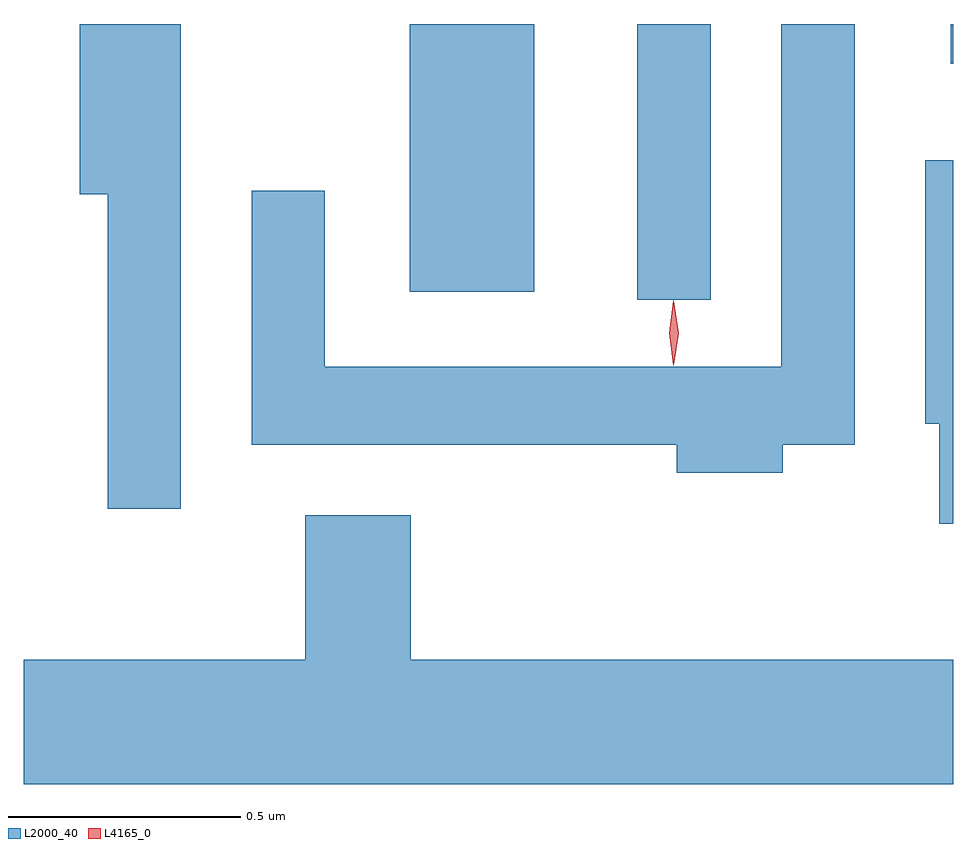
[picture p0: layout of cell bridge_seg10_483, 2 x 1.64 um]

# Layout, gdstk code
import gdstk
lib = gdstk.Library(unit=1e-6, precision=1e-09)
def R(c, l, rs):  # rectangles x0, y0, x1, y1
    for r in rs: c.add(gdstk.rectangle(r[:2], r[2:], *l))
def P(c, l, *ps):  # polygons
    for p in ps: c.add(gdstk.Polygon(p, *l))
L2000_40 = (2000, 40)
L4165_0 = (4165, 0)

bridge_seg10_483 = lib.new_cell('bridge_seg10_483')
R(bridge_seg10_483, L2000_40, [(1443.416,2112.738,1443.574,2113.332), (1442.926,2112.756,1443.194,2113.332), (1444.091,2113.246,1444.096,2113.332)])
P(bridge_seg10_483, L2000_40, [(1443.729,2112.426),(1443.884,2112.426),(1443.884,2113.332),(1443.726,2113.332),(1443.726,2112.594),(1442.744,2112.594),(1442.744,2112.973),(1442.586,2112.973),(1442.586,2112.426),(1443.501,2112.426),(1443.501,2112.366),(1443.729,2112.366)],
  [(1442.434,2113.332),(1442.216,2113.332),(1442.216,2112.966),(1442.276,2112.966),(1442.276,2112.288),(1442.434,2112.288)],
  [(1444.096,2113.039),(1444.036,2113.039),(1444.036,2112.471),(1444.066,2112.471),(1444.066,2112.256),(1444.096,2112.256)],
  [(1444.096,2111.964),(1442.929,2111.964),(1442.929,2112.274),(1442.701,2112.274),(1442.701,2111.964),(1442.096,2111.964),(1442.096,2111.696),(1444.096,2111.696)])
P(bridge_seg10_483, L4165_0, [(1443.494,2112.597),(1443.485,2112.666),(1443.494,2112.736),(1443.495,2112.736),(1443.495,2112.736),(1443.505,2112.666),(1443.495,2112.597),(1443.495,2112.597)])

lib.write_gds('bridge_seg10_483.gds')
